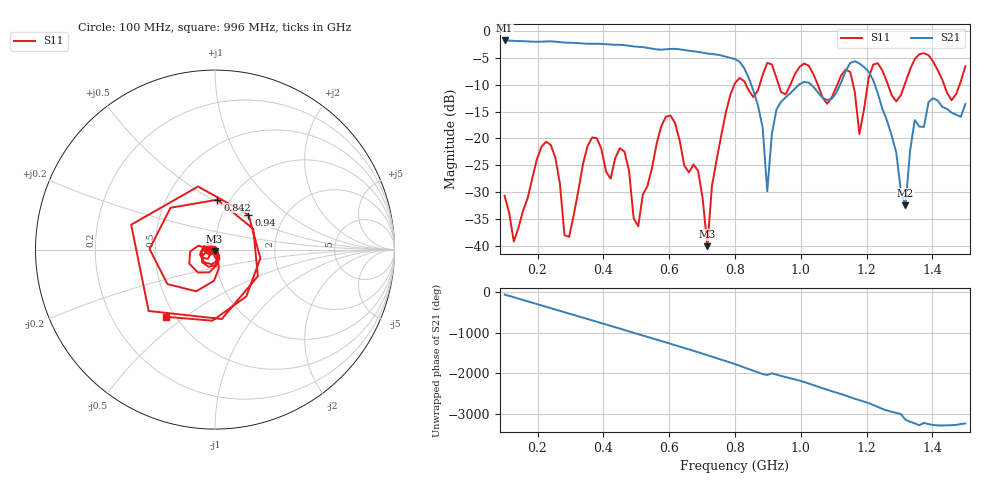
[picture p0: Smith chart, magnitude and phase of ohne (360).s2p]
! NanoVNA-App
! Date: 2025-09-25 14:23:36
! Start: 100MHz Stop: 1,5GHz Points: 101
! S-Parameter data: F S11 S21 S12 S22
# Hz S RI R 50
!  Frequency  S11_Real  S11_Imag  S21_Real  S21_Imag  S12_Real  S12_Imag  S22_Real  S22_Imag
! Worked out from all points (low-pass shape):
!   101 points, 100 MHz to 1.5 GHz, reference 50 ohm
!   highest |S21| = -1.79 dB at 100 MHz (marker M1); lowest = -32.4 dB at 1.318 GHz (marker M2)
!   |S21| within 3 dB of the highest: start of sweep to 770.8 MHz
!   lowest |S11| = -40.0 dB at 716 MHz (marker M3), VSWR 1.02, Z = 49.8 - j0.975 ohm
!   |S11| at or under -10 dB: start of sweep to 798.1 MHz; 833.1 MHz to 875.1 MHz (41.96 MHz wide, 4.91 % of centre); 1.052 GHz to 1.111 GHz (59.36 MHz wide, 5.49 % of centre) (the widest 3 of 7)
!   S12 and S22 are empty: the file has one direction only
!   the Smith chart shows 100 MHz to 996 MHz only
!   S11 on the Smith chart (normalised r, x): 100 MHz: 0.94, -0.01; 842 MHz: 0.88, +0.53; 940 MHz: 1.32, +0.56; 996 MHz: 0.45, -0.43
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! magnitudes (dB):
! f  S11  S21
! 100 MHz  -30.6  -1.8
! 128 MHz  -39.1  -1.9
! 226 MHz  -20.6  -2.0
! 296 MHz  -38.3  -2.2
! 338 MHz  -24.8  -2.4
! 464 MHz  -22.4  -2.7
! 506 MHz  -36.3  -3.0
! 576 MHz  -17.7  -3.5
! 688 MHz  -26.0  -3.9
! 716 MHz  -40.0  -4.2
! 800 MHz  -9.7  -5.2
! 842 MHz  -11.1  -8.8
! 898 MHz  -6.0  -29.8
! 940 MHz  -11.4  -13.2
! 996 MHz  -6.7  -9.9
! 1.038 GHz  -8.0  -10.4
! 1.178 GHz  -19.2  -6.1
! 1.22 GHz  -6.3  -9.2
! 1.276 GHz  -12.0  -19.4
! 1.318 GHz  -9.6  -32.4
! 1.346 GHz  -5.3  -16.6
! 1.5 GHz  -6.6  -13.6
